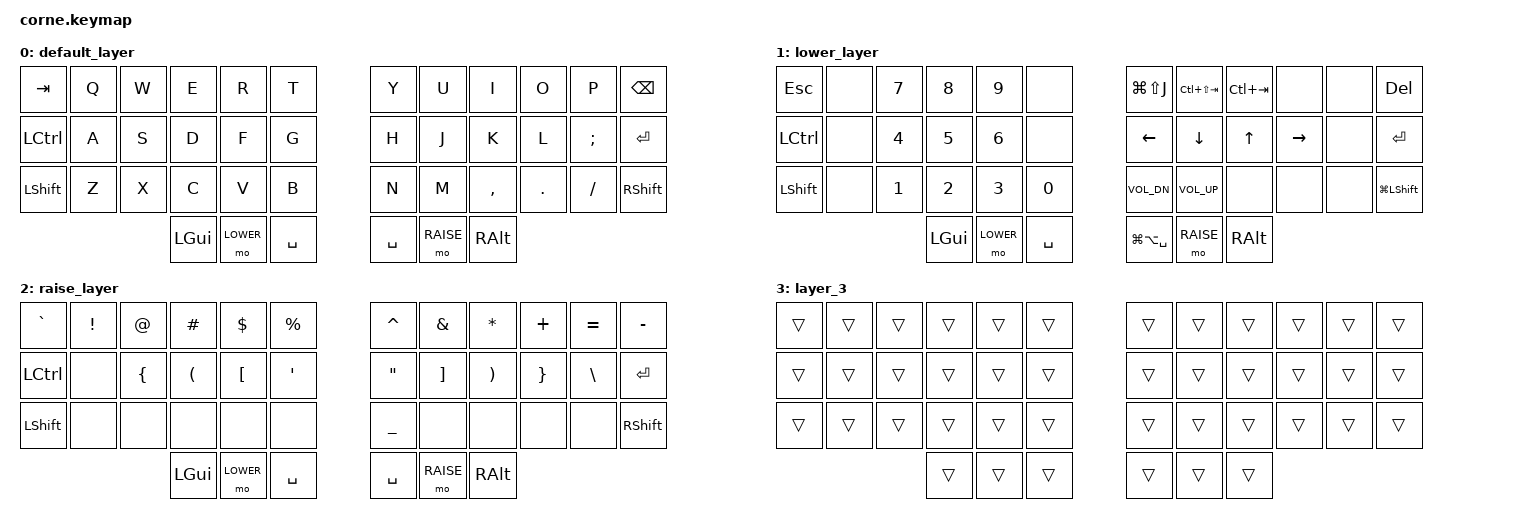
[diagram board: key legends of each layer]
/*
 * Copyright (c) 2020 The ZMK Contributors
 *
 * SPDX-License-Identifier: MIT
 */

#include <behaviors.dtsi>
#include <dt-bindings/zmk/keys.h>

#define LOWER   1
#define RAISE   2

/ {
    keymap {
        compatible = "zmk,keymap";

        default_layer {
            bindings = <
&kp TAB    &kp Q  &kp W  &kp E     &kp R      &kp T        &kp Y      &kp U      &kp I      &kp O    &kp P     &kp BSPC
&kp LCTRL  &kp A  &kp S  &kp D     &kp F      &kp G        &kp H      &kp J      &kp K      &kp L    &kp SEMI  &kp RET
&kp LSHFT  &kp Z  &kp X  &kp C     &kp V      &kp B        &kp N      &kp M      &kp COMMA  &kp DOT  &kp FSLH  &kp RSHFT
                         &kp LGUI  &mo LOWER  &kp SPACE    &kp SPACE  &mo RAISE  &kp RALT
            >;
        };

        lower_layer {
            bindings = <
&kp ESC    &none  &kp N7  &kp N8    &kp N9     &none        &kp LG(LS(J))      &kp LC(LS(TAB))  &kp LC(TAB)  &none      &none  &kp DELETE
&kp LCTRL  &none  &kp N4  &kp N5    &kp N6     &none        &kp LEFT           &kp DOWN         &kp UP       &kp RIGHT  &none  &kp RET
&kp LSHFT  &none  &kp N1  &kp N2    &kp N3     &kp N0       &kp C_VOL_DN       &kp C_VOL_UP     &none        &none      &none  &kp LG(LSHFT)
                          &kp LGUI  &mo LOWER  &kp SPACE    &kp LG(LA(SPACE))  &mo RAISE        &kp RALT
            >;
        };

        raise_layer {
            bindings = <
&kp GRAVE  &kp EXCL  &kp AT          &kp POUND             &kp DOLLAR        &kp PERCENT    &kp CARET          &kp AMPS           &kp STAR               &kp PLUS         &kp EQUAL      &kp MINUS
&kp LCTRL  &none     &kp LEFT_BRACE  &kp LEFT_PARENTHESIS  &kp LEFT_BRACKET  &kp SQT        &kp DOUBLE_QUOTES  &kp RIGHT_BRACKET  &kp RIGHT_PARENTHESIS  &kp RIGHT_BRACE  &kp BACKSLASH  &kp RET
&kp LSHFT  &none     &none           &none                 &none             &none          &kp UNDER          &none              &none                  &none            &none          &kp RSHFT
                                     &kp LGUI              &mo LOWER         &kp SPACE      &kp SPACE          &mo RAISE          &kp RALT
            >;
        };

        layer_3 {
            bindings = <
&trans  &trans  &trans  &trans  &trans  &trans    &trans  &trans  &trans  &trans  &trans  &trans
&trans  &trans  &trans  &trans  &trans  &trans    &trans  &trans  &trans  &trans  &trans  &trans
&trans  &trans  &trans  &trans  &trans  &trans    &trans  &trans  &trans  &trans  &trans  &trans
                        &trans  &trans  &trans    &trans  &trans  &trans
            >;
        };
    };
};
